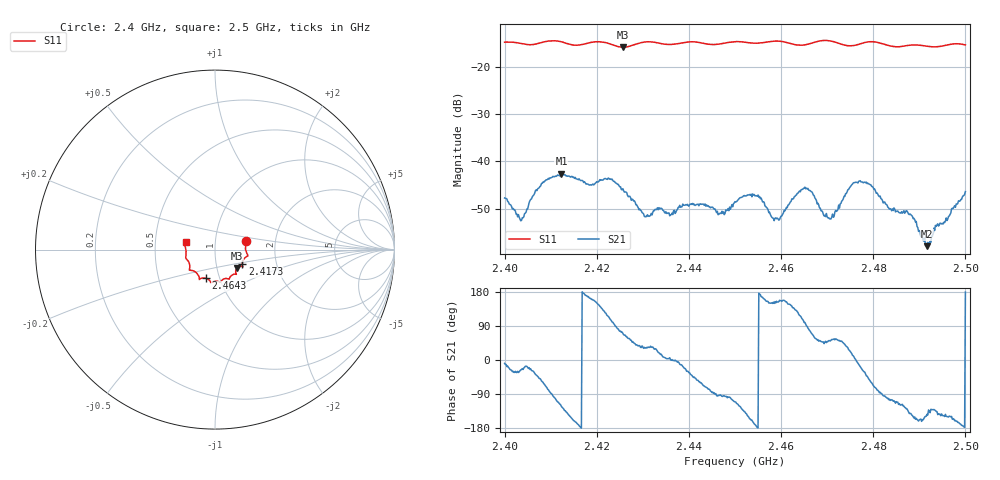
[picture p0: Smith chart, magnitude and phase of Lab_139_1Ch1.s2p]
# Hz S RI R 50
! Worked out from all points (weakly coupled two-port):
!   601 points, 2.4 GHz to 2.5 GHz, reference 50 ohm
!   highest |S21| = -42.58 dB at 2.4123 GHz (marker M1); lowest = -57.9 dB at 2.4917 GHz (marker M2)
!   lowest |S11| = -15.9 dB at 2.4257 GHz (marker M3), VSWR 1.38, Z = 62.4 - j13.1 ohm
!   |S11| at or under -10 dB: start of sweep to end of sweep
!   S12 and S22 are empty: the file has one direction only
!   S11 on the Smith chart (normalised r, x): 2.4 GHz: 1.41, +0.14; 2.4173 GHz: 1.34, -0.23; 2.4643 GHz: 0.86, -0.28; 2.5 GHz: 0.72, +0.06
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2.4e9  0.1737 0.0492  0.00407 -0.000628  0 0  0 0
2.403667e9  0.1721 0.0284  0.00216 -0.00102  0 0  0 0
2.4085e9  0.1798 -0.025  0.00278 -0.00534  0 0  0 0
2.412333e9  0.1784 -0.0376  -0.004 -0.00625  0 0  0 0
2.416667e9  0.1525 -0.0749  -0.0063 -2.96e-05  0 0  0 0
2.417333e9  0.1521 -0.0823  -0.00608 0.000624  0 0  0 0
2.422833e9  0.1462 -0.0935  -0.00211 0.00614  0 0  0 0
2.425667e9  0.1225 -0.1024  0.00173 0.00487  0 0  0 0
2.430333e9  0.1185 -0.137  0.00221 0.00145  0 0  0 0
2.433333e9  0.1127 -0.1365  0.00292 0.00106  0 0  0 0
2.446833e9  0.0415 -0.1684  -9.73e-05 -0.00284  0 0  0 0
2.45e9  0.0296 -0.1807  -0.00132 -0.00353  0 0  0 0
2.4545e9  0.00594 -0.1761  -0.00432 -0.000594  0 0  0 0
2.459333e9  -0.0223 -0.1841  -0.00221 0.00114  0 0  0 0
2.464333e9  -0.0501 -0.1601  -0.00205 0.00459  0 0  0 0
2.466667e9  -0.0761 -0.1595  0.00168 0.00448  0 0  0 0
2.4705e9  -0.0871 -0.1652  0.00156 0.00194  0 0  0 0
2.476667e9  -0.1235 -0.1174  0.00586 -0.000872  0 0  0 0
2.483333e9  -0.1406 -0.0894  -0.000826 -0.00315  0 0  0 0
2.487833e9  -0.1596 -0.052  -0.00215 -0.00172  0 0  0 0
2.491667e9  -0.1612 -0.029  -0.00103 -0.000767  0 0  0 0
2.5e9  -0.1639 0.0417  -0.00482 7.93e-05  0 0  0 0
